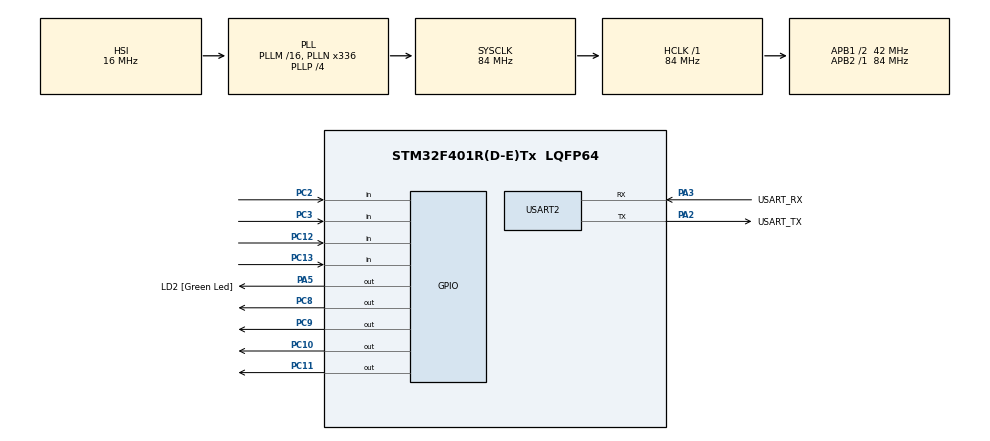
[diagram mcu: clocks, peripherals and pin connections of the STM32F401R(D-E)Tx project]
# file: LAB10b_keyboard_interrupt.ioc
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Mcu.Family=STM32F4
Mcu.Name=STM32F401R(D-E)Tx
Mcu.Package=LQFP64
NVIC.PriorityGroup=NVIC_PRIORITYGROUP_0
NVIC.TIM2_IRQn=true\:0\:0\:false\:false\:true\:true\:true
PA13.GPIO_Label=TMS
PA13.Mode=Serial_Wire
PA13.Signal=SYS_JTMS-SWDIO
PA14.GPIO_Label=TCK
PA14.Mode=Serial_Wire
PA14.Signal=SYS_JTCK-SWCLK
PA2.GPIO_Label=USART_TX
PA2.GPIO_Mode=GPIO_MODE_AF_PP
PA2.GPIO_PuPd=GPIO_NOPULL
PA2.GPIO_Speed=GPIO_SPEED_FREQ_LOW
PA2.Mode=Asynchronous
PA2.Signal=USART2_TX
PA3.GPIO_Label=USART_RX
PA3.GPIO_Mode=GPIO_MODE_AF_PP
PA3.GPIO_PuPd=GPIO_NOPULL
PA3.GPIO_Speed=GPIO_SPEED_FREQ_LOW
PA3.Mode=Asynchronous
PA3.Signal=USART2_RX
PA5.GPIO_Label=LD2 [Green Led]
PA5.GPIO_Mode=GPIO_MODE_OUTPUT_PP
PA5.GPIO_PuPd=GPIO_NOPULL
PA5.GPIO_Speed=GPIO_SPEED_FREQ_LOW
PA5.Signal=GPIO_Output
PB3.GPIO_Label=SWO
PB3.Signal=SYS_JTDO-SWO
PC10.Signal=GPIO_Output
PC11.Signal=GPIO_Output
PC12.Signal=GPIO_Input
PC13-ANTI_TAMP.Signal=GPIO_Input
PC14-OSC32_IN.Mode=LSE-External-Oscillator
PC14-OSC32_IN.Signal=RCC_OSC32_IN
PC15-OSC32_OUT.Mode=LSE-External-Oscillator
PC15-OSC32_OUT.Signal=RCC_OSC32_OUT
PC2.Signal=GPIO_Input
PC3.Signal=GPIO_Input
PC8.Signal=GPIO_Output
PC9.Signal=GPIO_Output
PH0\ -\ OSC_IN.Mode=HSE-External-Clock-Source
PH0\ -\ OSC_IN.Signal=RCC_OSC_IN
PH1\ -\ OSC_OUT.Mode=HSE-External-Clock-Source
PH1\ -\ OSC_OUT.Signal=RCC_OSC_OUT
ProjectManager.HeapSize=0x200
ProjectManager.StackSize=0x400
ProjectManager.TargetToolchain=STM32CubeIDE
RCC.48MHZClocksFreq_Value=48000000
RCC.AHBFreq_Value=84000000
RCC.APB1CLKDivider=RCC_HCLK_DIV2
RCC.APB1Freq_Value=42000000
RCC.APB1TimFreq_Value=84000000
RCC.APB2Freq_Value=84000000
RCC.APB2TimFreq_Value=84000000
RCC.CortexFreq_Value=84000000
RCC.HCLKFreq_Value=84000000
RCC.HSE_VALUE=8000000
RCC.HSI_VALUE=16000000
RCC.PLLN=336
RCC.PLLP=RCC_PLLP_DIV4
RCC.PLLQ=7
RCC.SYSCLKFreq_VALUE=84000000
RCC.SYSCLKSource=RCC_SYSCLKSOURCE_PLLCLK
RCC.VCOOutputFreq_Value=336000000
TIM2.Period=21-1
TIM2.Prescaler=4000-1
USART2.VirtualMode=VM_ASYNC
VP_TIM2_VS_ClockSourceINT.Mode=Internal
board=NUCLEO-F401RE

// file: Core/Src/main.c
/* USER CODE BEGIN Header */
/**
  ******************************************************************************
  * @file           : main.c
  * @brief          : Main program body
  ******************************************************************************
  * @attention
  *
  * <h2><center>&copy; Copyright (c) 2021 STMicroelectronics.
  * All rights reserved.</center></h2>
  *
  * This software component is licensed by ST under BSD 3-Clause license,
  * the "License"; You may not use this file except in compliance with the
  * License. You may obtain a copy of the License at:
  *                        opensource.org/licenses/BSD-3-Clause
  *
  ******************************************************************************
  */
/* USER CODE END Header */
#include "main.h"

/* USER CODE BEGIN PD */
#define COLUMNS_NUMBER 4
#define ROWS_NUMBER 4
#define KBOARD_DEBOUNCE_CYCLES 1 // it's 16ms per reading per each unit, one or two should be enough
/* USER CODE END PD */

TIM_HandleTypeDef htim2;

UART_HandleTypeDef huart2;

/* USER CODE BEGIN PV */
GPIO_PinState keyboard[COLUMNS_NUMBER*ROWS_NUMBER];
GPIO_PinState keyboard_old[COLUMNS_NUMBER*ROWS_NUMBER];
int keyboard_debounce[COLUMNS_NUMBER*ROWS_NUMBER];
const char keymap[] = "0123456789ABCDEF";

// first attempt of ordering
// const char keymap[] = "FB37C804D915EA26";
// static uint16_t columns_pin[COLUMNS_NUMBER] = {GPIO_PIN_8,GPIO_PIN_9,GPIO_PIN_10,GPIO_PIN_11};
// static uint16_t rows_pin[ROWS_NUMBER]       = {GPIO_PIN_3,GPIO_PIN_2,GPIO_PIN_12,GPIO_PIN_13};

/* USER CODE END PV */

void SystemClock_Config(void);
static void MX_GPIO_Init(void);
static void MX_USART2_UART_Init(void);
static void MX_TIM2_Init(void);

/* USER CODE BEGIN 0 */
void HAL_TIM_PeriodElapsedCallback(TIM_HandleTypeDef *htim) {
	if (htim->Instance == htim2.Instance) {
		static uint8_t col_index = 0;
  		static const GPIO_TypeDef* columns_bank[COLUMNS_NUMBER] = {GPIOC,GPIOC,GPIOC,GPIOC};
  		static const uint16_t columns_pin[COLUMNS_NUMBER] = { GPIO_PIN_9, GPIO_PIN_10,GPIO_PIN_11, GPIO_PIN_8};

  		static const GPIO_TypeDef* rows_bank[ROWS_NUMBER] = {GPIOC,GPIOC,GPIOC,GPIOC};
  		static const uint16_t rows_pin[ROWS_NUMBER]      = {GPIO_PIN_12, GPIO_PIN_13, GPIO_PIN_2,GPIO_PIN_3};

  		for(int row_index = 0; row_index < ROWS_NUMBER; row_index++){

  			if(keyboard_debounce[row_index*COLUMNS_NUMBER+col_index] == 0){// if debounce period is over

  				keyboard[row_index*COLUMNS_NUMBER+col_index] = HAL_GPIO_ReadPin((GPIO_TypeDef*)rows_bank[row_index], rows_pin[row_index]);

  				// if it's a news
  				if(keyboard[row_index*COLUMNS_NUMBER+col_index] != keyboard_old[row_index*COLUMNS_NUMBER+col_index]){
  					if(keyboard_old[row_index*COLUMNS_NUMBER+col_index] == GPIO_PIN_SET){
  						HAL_UART_Transmit(&huart2,(uint8_t*) &keymap[row_index*COLUMNS_NUMBER+col_index], 1, 10); // map[row_index*COLUMNS_NUMBER+col_index]
	  					keyboard_debounce[row_index*COLUMNS_NUMBER+col_index] = KBOARD_DEBOUNCE_CYCLES; // reload debounce counter
  					}
  					keyboard_old[row_index*COLUMNS_NUMBER+col_index] = keyboard[row_index*COLUMNS_NUMBER+col_index];
  				}
  			}
  			else{
  				keyboard_debounce[row_index*COLUMNS_NUMBER+col_index]--;
  			}
  		}
  		for(int i = 0; i < COLUMNS_NUMBER; i++){
  			// this is done to maintain consistency with the "set" and "reset" defines
  			HAL_GPIO_WritePin((GPIO_TypeDef*)columns_bank[i], columns_pin[i], (col_index == i) ? GPIO_PIN_SET : GPIO_PIN_RESET);
  		}

		if(col_index >= COLUMNS_NUMBER-1)
			col_index = 0;
		else
			col_index++;
	}
}
/* USER CODE END 0 */

int main(void)
{

  /* MCU Configuration--------------------------------------------------------*/

  /* Reset of all peripherals, Initializes the Flash interface and the Systick. */
  HAL_Init();

  /* Configure the system clock */
  SystemClock_Config();

  /* Initialize all configured peripherals */
  MX_GPIO_Init();
  MX_USART2_UART_Init();
  MX_TIM2_Init();
  /* USER CODE BEGIN 2 */
 if(HAL_TIM_Base_Start_IT(&htim2) != HAL_OK){
	  Error_Handler();
  }
  /* USER CODE END 2 */

  /* Infinite loop */
  while (1)
  {

  }
}

void SystemClock_Config(void)
{
  RCC_OscInitTypeDef RCC_OscInitStruct = {0};
  RCC_ClkInitTypeDef RCC_ClkInitStruct = {0};

  /** Configure the main internal regulator output voltage
  */
  __HAL_RCC_PWR_CLK_ENABLE();
  __HAL_PWR_VOLTAGESCALING_CONFIG(PWR_REGULATOR_VOLTAGE_SCALE2);
  /** Initializes the RCC Oscillators according to the specified parameters
  * in the RCC_OscInitTypeDef structure.
  */
  RCC_OscInitStruct.OscillatorType = RCC_OSCILLATORTYPE_HSI;
  RCC_OscInitStruct.HSIState = RCC_HSI_ON;
  RCC_OscInitStruct.HSICalibrationValue = RCC_HSICALIBRATION_DEFAULT;
  RCC_OscInitStruct.PLL.PLLState = RCC_PLL_ON;
  RCC_OscInitStruct.PLL.PLLSource = RCC_PLLSOURCE_HSI;
  RCC_OscInitStruct.PLL.PLLM = 16;
  RCC_OscInitStruct.PLL.PLLN = 336;
  RCC_OscInitStruct.PLL.PLLP = RCC_PLLP_DIV4;
  RCC_OscInitStruct.PLL.PLLQ = 7;
  if (HAL_RCC_OscConfig(&RCC_OscInitStruct) != HAL_OK)
  {
    Error_Handler();
  }
  /** Initializes the CPU, AHB and APB buses clocks
  */
  RCC_ClkInitStruct.ClockType = RCC_CLOCKTYPE_HCLK|RCC_CLOCKTYPE_SYSCLK
                              |RCC_CLOCKTYPE_PCLK1|RCC_CLOCKTYPE_PCLK2;
  RCC_ClkInitStruct.SYSCLKSource = RCC_SYSCLKSOURCE_PLLCLK;
  RCC_ClkInitStruct.AHBCLKDivider = RCC_SYSCLK_DIV1;
  RCC_ClkInitStruct.APB1CLKDivider = RCC_HCLK_DIV2;
  RCC_ClkInitStruct.APB2CLKDivider = RCC_HCLK_DIV1;

  if (HAL_RCC_ClockConfig(&RCC_ClkInitStruct, FLASH_LATENCY_2) != HAL_OK)
  {
    Error_Handler();
  }
}

static void MX_TIM2_Init(void)
{

  TIM_ClockConfigTypeDef sClockSourceConfig = {0};
  TIM_MasterConfigTypeDef sMasterConfig = {0};

  htim2.Instance = TIM2;
  htim2.Init.Prescaler = 4000-1;
  htim2.Init.CounterMode = TIM_COUNTERMODE_UP;
  htim2.Init.Period = 21-1;
  htim2.Init.ClockDivision = TIM_CLOCKDIVISION_DIV1;
  htim2.Init.AutoReloadPreload = TIM_AUTORELOAD_PRELOAD_DISABLE;
  if (HAL_TIM_Base_Init(&htim2) != HAL_OK)
  {
    Error_Handler();
  }
  sClockSourceConfig.ClockSource = TIM_CLOCKSOURCE_INTERNAL;
  if (HAL_TIM_ConfigClockSource(&htim2, &sClockSourceConfig) != HAL_OK)
  {
    Error_Handler();
  }
  sMasterConfig.MasterOutputTrigger = TIM_TRGO_RESET;
  sMasterConfig.MasterSlaveMode = TIM_MASTERSLAVEMODE_DISABLE;
  if (HAL_TIMEx_MasterConfigSynchronization(&htim2, &sMasterConfig) != HAL_OK)
  {
    Error_Handler();
  }

}

static void MX_USART2_UART_Init(void)
{

  huart2.Instance = USART2;
  huart2.Init.BaudRate = 115200;
  huart2.Init.WordLength = UART_WORDLENGTH_8B;
  huart2.Init.StopBits = UART_STOPBITS_1;
  huart2.Init.Parity = UART_PARITY_NONE;
  huart2.Init.Mode = UART_MODE_TX_RX;
  huart2.Init.HwFlowCtl = UART_HWCONTROL_NONE;
  huart2.Init.OverSampling = UART_OVERSAMPLING_16;
  if (HAL_UART_Init(&huart2) != HAL_OK)
  {
    Error_Handler();
  }

}

static void MX_GPIO_Init(void)
{
  GPIO_InitTypeDef GPIO_InitStruct = {0};

  /* GPIO Ports Clock Enable */
  __HAL_RCC_GPIOC_CLK_ENABLE();
  __HAL_RCC_GPIOH_CLK_ENABLE();
  __HAL_RCC_GPIOA_CLK_ENABLE();
  __HAL_RCC_GPIOB_CLK_ENABLE();

  /*Configure GPIO pin Output Level */
  HAL_GPIO_WritePin(LD2_GPIO_Port, LD2_Pin, GPIO_PIN_RESET);

  /*Configure GPIO pin Output Level */
  HAL_GPIO_WritePin(GPIOC, GPIO_PIN_8|GPIO_PIN_9|GPIO_PIN_10|GPIO_PIN_11, GPIO_PIN_RESET);

  /*Configure GPIO pins : PC13 PC2 PC3 PC12 */
  GPIO_InitStruct.Pin = GPIO_PIN_13|GPIO_PIN_2|GPIO_PIN_3|GPIO_PIN_12;
  GPIO_InitStruct.Mode = GPIO_MODE_INPUT;
  GPIO_InitStruct.Pull = GPIO_NOPULL;
  HAL_GPIO_Init(GPIOC, &GPIO_InitStruct);

  /*Configure GPIO pin : LD2_Pin */
  GPIO_InitStruct.Pin = LD2_Pin;
  GPIO_InitStruct.Mode = GPIO_MODE_OUTPUT_PP;
  GPIO_InitStruct.Pull = GPIO_NOPULL;
  GPIO_InitStruct.Speed = GPIO_SPEED_FREQ_LOW;
  HAL_GPIO_Init(LD2_GPIO_Port, &GPIO_InitStruct);

  /*Configure GPIO pins : PC8 PC9 PC10 PC11 */
  GPIO_InitStruct.Pin = GPIO_PIN_8|GPIO_PIN_9|GPIO_PIN_10|GPIO_PIN_11;
  GPIO_InitStruct.Mode = GPIO_MODE_OUTPUT_PP;
  GPIO_InitStruct.Pull = GPIO_NOPULL;
  GPIO_InitStruct.Speed = GPIO_SPEED_FREQ_LOW;
  HAL_GPIO_Init(GPIOC, &GPIO_InitStruct);

}

void Error_Handler(void)
{
  __disable_irq();
  while (1)
  {
  }
}

/************************ (C) COPYRIGHT STMicroelectronics *****END OF FILE****/
